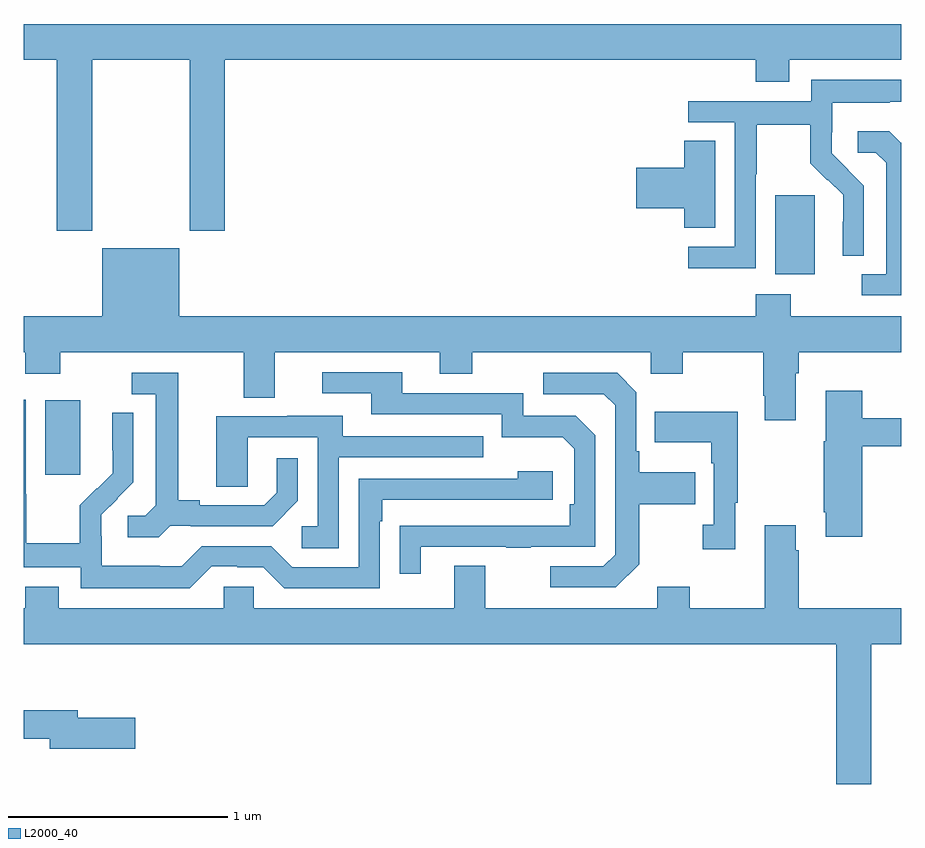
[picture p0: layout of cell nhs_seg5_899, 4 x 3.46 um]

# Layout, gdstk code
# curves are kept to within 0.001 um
import gdstk
lib = gdstk.Library(unit=1e-6, precision=1e-09)
def R(c, l, rs):  # rectangles x0, y0, x1, y1
    for r in rs: c.add(gdstk.rectangle(r[:2], r[2:], *l))
def P(c, l, *ps):  # polygons
    for p in ps: c.add(gdstk.Polygon(p, *l))
L2000_40 = (2000, 40)

nhs_seg5_899 = lib.new_cell('nhs_seg5_899')
R(nhs_seg5_899, L2000_40, [(169.097,848.208,169.258,848.548), (172.427,849.122,172.606,849.483)])
P(nhs_seg5_899, L2000_40, [(169,850.1),(169.151,850.1),(169.151,849.321),(169.311,849.321),(169.311,850.1),(169.756,850.1),(169.756,849.321),(169.916,849.321),(169.916,850.1),(172.337,850.1),(172.337,850.001),(172.489,850.001),(172.489,850.1),(173,850.1),(173,850.264),(169,850.264)],
  [(172.338,849.58),(172.341,849.58),(172.341,849.804),(172.585,849.804),(172.585,849.629),(172.662,849.552),(172.665,849.555),(172.736,849.485),(172.736,849.362),(172.734,849.362),(172.734,849.208),(172.83,849.208),(172.83,849.526),(172.684,849.674),(172.684,849.771),(172.686,849.771),(172.686,849.905),(172.949,849.905),(172.949,849.909),(173,849.909),(173,850.009),(172.59,850.009),(172.59,849.912),(172.029,849.912),(172.029,849.816),(172.242,849.816),(172.242,849.249),(172.029,849.249),(172.029,849.151),(172.338,849.151)],
  [(173,849.723),(172.998,849.723),(172.946,849.775),(172.803,849.775),(172.803,849.678),(172.884,849.678),(172.931,849.631),(172.931,849.123),(172.821,849.123),(172.821,849.027),(173,849.027)],
  [(172.153,849.731),(172.01,849.731),(172.01,849.608),(171.792,849.608),(171.792,849.425),(172.01,849.425),(172.01,849.334),(172.153,849.334)],
  [(172.519,848.672),(172.532,848.672),(172.532,848.768),(173,848.768),(173,848.932),(172.497,848.932),(172.497,849.031),(172.337,849.031),(172.337,848.932),(169.708,848.932),(169.708,849.241),(169.358,849.241),(169.358,848.932),(169,848.932),(169,848.768),(169.007,848.768),(169.007,848.669),(169.167,848.669),(169.167,848.768),(170.003,848.768),(170.003,848.56),(170.143,848.56),(170.143,848.768),(170.897,848.768),(170.897,848.669),(171.045,848.669),(171.045,848.768),(171.858,848.768),(171.858,848.669),(172.005,848.669),(172.005,848.768),(172.372,848.768),(172.372,848.569),(172.379,848.569),(172.379,848.457),(172.519,848.457)],
  [(170.809,847.881),(171.199,847.881),(171.199,847.876),(171.311,847.876),(171.311,847.881),(171.606,847.881),(171.606,848.388),(171.516,848.478),(171.276,848.478),(171.276,848.58),(170.725,848.58),(170.725,848.676),(170.361,848.676),(170.361,848.58),(170.585,848.58),(170.585,848.484),(171.18,848.484),(171.18,848.381),(171.457,848.381),(171.51,848.328),(171.51,848.074),(171.49,848.074),(171.49,847.977),(170.713,847.976),(170.713,847.758),(170.809,847.758)],
  [(169.668,847.977),(169.762,847.977),(169.762,847.974),(170.134,847.974),(170.25,848.09),(170.25,848.284),(170.153,848.284),(170.153,848.127),(170.096,848.07),(169.801,848.07),(169.801,848.093),(169.705,848.093),(169.705,848.673),(169.491,848.673),(169.491,848.577),(169.601,848.577),(169.601,848.069),(169.554,848.022),(169.473,848.022),(169.473,847.925),(169.616,847.925)],
  [(171.805,847.801),(171.805,848.074),(172.061,848.074),(172.061,848.221),(171.805,848.221),(171.805,848.317),(171.792,848.317),(171.792,848.586),(171.705,848.673),(171.369,848.673),(171.369,848.577),(171.645,848.577),(171.696,848.526),(171.696,847.845),(171.642,847.791),(171.399,847.791),(171.399,847.695),(171.699,847.695)],
  [(172.823,848.338),(173,848.338),(173,848.467),(172.823,848.467),(172.823,848.593),(172.655,848.593),(172.655,848.361),(172.648,848.361),(172.648,848.038),(172.655,848.038),(172.655,847.926),(172.823,847.926)],
  [(169.857,847.791),(169.973,847.791),(169.973,847.788),(170.091,847.788),(170.187,847.692),(170.622,847.692),(170.622,847.997),(170.635,847.997),(170.635,848.094),(171.412,848.094),(171.412,848.224),(171.251,848.224),(171.251,848.19),(170.526,848.19),(170.526,847.788),(170.223,847.788),(170.127,847.884),(169.812,847.884),(169.719,847.791),(169.619,847.791),(169.619,847.795),(169.356,847.795),(169.356,847.929),(169.354,847.929),(169.354,848.026),(169.5,848.174),(169.5,848.492),(169.403,848.492),(169.403,848.32),(169.406,848.32),(169.406,848.216),(169.335,848.145),(169.332,848.148),(169.255,848.071),(169.255,847.897),(169.011,847.897),(169.011,848.12),(169.008,848.12),(169.008,848.55),(169,848.55),(169,847.788),(169.26,847.788),(169.26,847.691),(169.757,847.691)],
  [(172.243,848.081),(172.255,848.081),(172.255,848.497),(171.877,848.497),(171.877,848.357),(172.134,848.357),(172.134,848.261),(172.146,848.261),(172.146,847.982),(172.095,847.982),(172.095,847.869),(172.243,847.869)],
  [(170.436,848.289),(171.095,848.289),(171.095,848.385),(170.455,848.385),(170.455,848.479),(170.201,848.479),(170.201,848.475),(169.877,848.475),(169.877,848.155),(170.022,848.155),(170.022,848.379),(170.34,848.379),(170.34,847.974),(170.268,847.974),(170.268,847.873),(170.436,847.873)],
  [(172.863,847.436),(173,847.436),(173,847.6),(172.532,847.6),(172.532,847.865),(172.519,847.865),(172.519,847.978),(172.379,847.978),(172.379,847.6),(172.035,847.6),(172.035,847.699),(171.887,847.699),(171.887,847.6),(171.103,847.6),(171.103,847.795),(170.963,847.795),(170.963,847.6),(170.049,847.6),(170.049,847.698),(169.911,847.698),(169.911,847.6),(169.159,847.6),(169.159,847.699),(169.007,847.699),(169.007,847.6),(169,847.6),(169,847.436),(172.703,847.436),(172.703,846.799),(172.863,846.799)],
  [(169.507,847.101),(169.246,847.101),(169.246,847.135),(169,847.135),(169,847.006),(169.118,847.006),(169.118,846.959),(169.507,846.959)])

lib.write_gds('nhs_seg5_899.gds')
